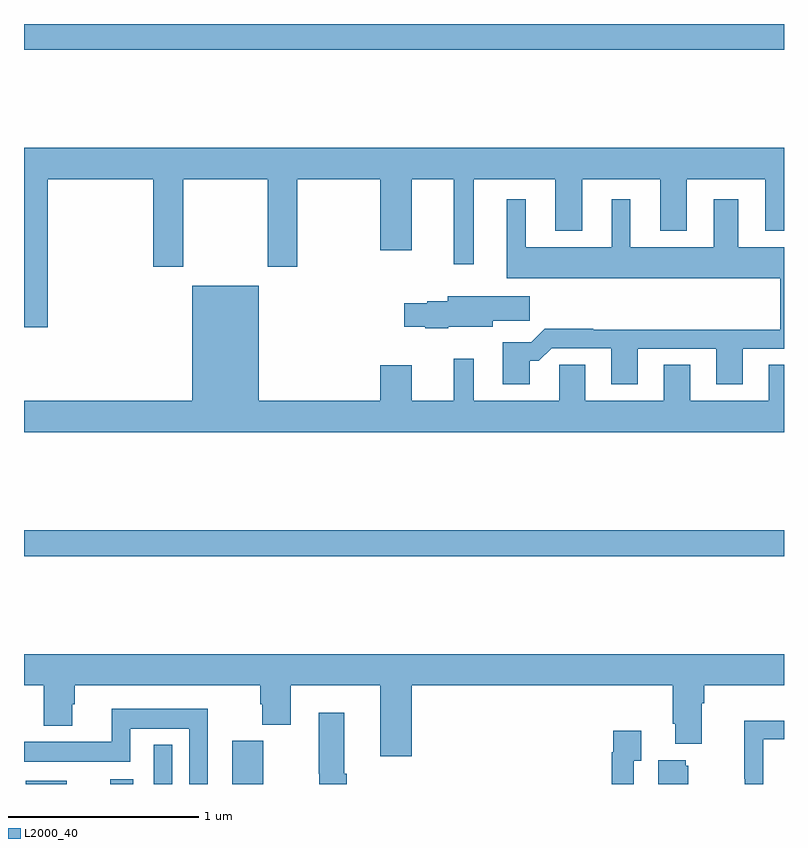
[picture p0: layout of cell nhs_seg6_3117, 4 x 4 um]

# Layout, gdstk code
import gdstk
lib = gdstk.Library(unit=1e-6, precision=1e-09)
def R(c, l, rs):  # rectangles x0, y0, x1, y1
    for r in rs: c.add(gdstk.rectangle(r[:2], r[2:], *l))
def P(c, l, *ps):  # polygons
    for p in ps: c.add(gdstk.Polygon(p, *l))
L2000_40 = (2000, 40)

nhs_seg6_3117 = lib.new_cell('nhs_seg6_3117')
R(nhs_seg6_3117, L2000_40, [(295.01,929.5,295.225,929.518), (295.454,929.5,295.576,929.524), (295.683,929.5,295.779,929.707), (296.096,929.5,296.26,929.727), (295,930.7,299,930.836), (295,933.364,299,933.5)])
P(nhs_seg6_3117, L2000_40, [(295.124,932.684),(295.679,932.684),(295.679,932.223),(295.839,932.223),(295.839,932.684),(296.284,932.684),(296.284,932.223),(296.439,932.223),(296.439,932.684),(296.876,932.684),(296.876,932.31),(297.04,932.31),(297.04,932.684),(297.263,932.684),(297.263,932.235),(297.367,932.235),(297.367,932.684),(297.797,932.684),(297.797,932.411),(297.937,932.411),(297.937,932.684),(298.349,932.684),(298.349,932.411),(298.489,932.411),(298.489,932.684),(298.901,932.684),(298.901,932.411),(299,932.411),(299,932.848),(295,932.848),(295,931.905),(295.124,931.905)],
  [(297.661,931.727),(297.71,931.727),(297.777,931.794),(298.091,931.794),(298.091,931.605),(298.231,931.605),(298.231,931.791),(298.643,931.791),(298.643,931.605),(298.783,931.605),(298.783,931.791),(299,931.791),(299,932.326),(298.759,932.326),(298.759,932.578),(298.631,932.578),(298.631,932.326),(298.192,932.326),(298.192,932.578),(298.094,932.578),(298.094,932.326),(297.64,932.326),(297.64,932.578),(297.542,932.578),(297.542,932.162),(298.979,932.162),(298.979,931.892),(297.995,931.892),(297.995,931.895),(297.74,931.895),(297.67,931.825),(297.521,931.825),(297.521,931.605),(297.661,931.605)],
  [(299,931.706),(298.919,931.706),(298.919,931.516),(298.507,931.516),(298.507,931.706),(298.367,931.706),(298.367,931.516),(297.955,931.516),(297.955,931.706),(297.816,931.706),(297.816,931.516),(297.367,931.516),(297.367,931.738),(297.263,931.738),(297.263,931.516),(297.04,931.516),(297.04,931.705),(296.876,931.705),(296.876,931.516),(296.236,931.516),(296.236,932.122),(295.886,932.122),(295.886,931.516),(295,931.516),(295,931.352),(299,931.352)],
  [(297.234,931.907),(297.466,931.907),(297.466,931.939),(297.661,931.939),(297.661,932.068),(297.23,932.068),(297.23,932.042),(297.123,932.042),(297.123,932.029),(297,932.029),(297,931.907),(297.112,931.907),(297.112,931.9),(297.234,931.9)],
  [(295,930.02),(295.103,930.02),(295.103,929.807),(295.255,929.807),(295.255,929.919),(295.268,929.919),(295.268,930.02),(296.243,930.02),(296.243,929.921),(296.255,929.921),(296.255,929.812),(296.403,929.812),(296.403,930.02),(296.876,930.02),(296.876,929.646),(297.04,929.646),(297.04,930.02),(298.415,930.02),(298.415,929.818),(298.427,929.818),(298.427,929.711),(298.567,929.711),(298.567,929.924),(298.58,929.924),(298.58,930.02),(299,930.02),(299,930.184),(295,930.184)],
  [(295.966,929.896),(295.463,929.896),(295.463,929.722),(295,929.722),(295,929.618),(295.56,929.618),(295.56,929.792),(295.869,929.792),(295.869,929.5),(295.966,929.5)],
  [(296.699,929.554),(296.686,929.554),(296.686,929.875),(296.552,929.875),(296.552,929.554),(296.553,929.554),(296.553,929.5),(296.699,929.5)],
  [(298.89,929.736),(299,929.736),(299,929.834),(298.792,929.834),(298.792,929.527),(298.794,929.527),(298.794,929.5),(298.89,929.5)],
  [(298.209,929.623),(298.249,929.623),(298.249,929.779),(298.101,929.779),(298.101,929.666),(298.093,929.666),(298.093,929.5),(298.209,929.5)],
  [(298.495,929.595),(298.484,929.595),(298.484,929.626),(298.337,929.626),(298.337,929.5),(298.495,929.5)])

lib.write_gds('nhs_seg6_3117.gds')
